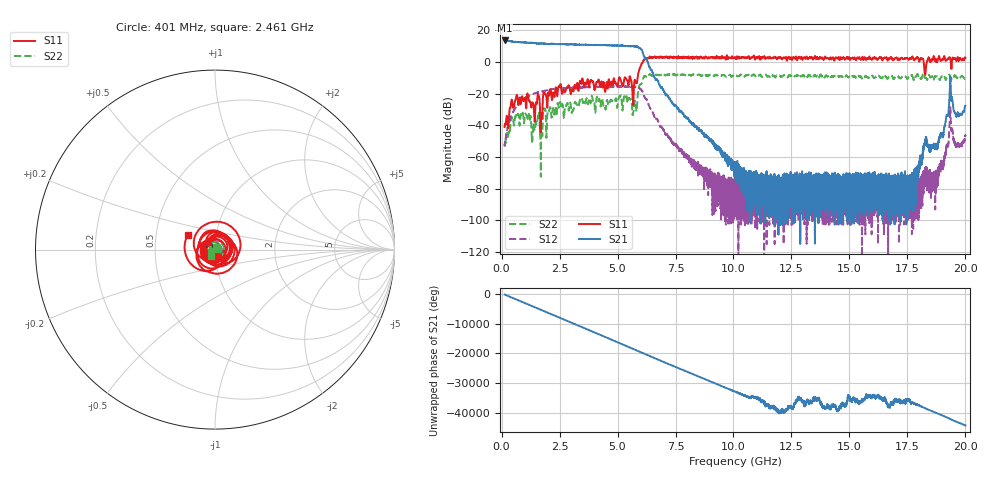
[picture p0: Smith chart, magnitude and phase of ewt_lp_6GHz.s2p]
!Created with skrf (http://scikit-rf.org).
# GHz S RI R 50.0
!freq ReS11 ImS11 ReS21 ImS21 ReS12 ImS12 ReS22 ImS22
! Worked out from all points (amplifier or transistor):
!   20013 points, 130 MHz to 20 GHz, reference 50 ohm
!   highest |S21| = 13.6 dB at 132 MHz (marker M1)
!   |S21| within 3 dB of that: start of sweep to 4.299 GHz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
!   unconditionally stable (mu >= 1): start of sweep to 5.964 GHz; 18.2 GHz to 18.34 GHz; 19.37702 GHz to 19.41306 GHz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
!   at 3.465 GHz: K = 1.13, MAG = 11.3 dB, |S12| = -16.1 dB
!   at 10.14 GHz: K = -25831640.06, MSG = 10.6 dB, |S12| = -88.3 dB
!   at 20 GHz: K = -1933.17, MSG = 9.1 dB, |S12| = -46.0 dB
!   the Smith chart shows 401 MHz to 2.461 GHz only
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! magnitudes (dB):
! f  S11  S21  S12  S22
! 130 MHz  -41.1  13.6  -53.4  -52.2
! 132 MHz  -40.8  13.6  -53.0  -52.3
! 464 MHz  -25.4  13.0  -32.5  -36.7
! 962 MHz  -24.3  12.4  -23.2  -38.6
! 1.38 GHz  -28.0  12.1  -20.0  -38.8
! 3.442 GHz  -13.4  11.0  -16.0  -22.4
! 5.73 GHz  -11.8  9.9  -15.7  -25.5
! 5.881 GHz  -8.3  9.5  -16.0  -19.8
! 6.166 GHz  2.2  3.2  -22.1  -8.9
! 6.754 GHz  3.2  -12.1  -37.4  -8.1
! 9.244 GHz  2.3  -54.7  -83.0  -8.1
! 10.06 GHz  3.1  -65.7  -71.5  -8.0
! 11.12 GHz  2.9  -75.1  -83.8  -8.3
! 13.38 GHz  3.0  -77.1  -96.7  -8.9
! 16.69 GHz  2.3  -72.7  -84.8  -9.7
! 17.67 GHz  2.3  -79.7  -82.4  -8.4
! 18.27 GHz  -8.0  -50.3  -68.7  -10.1
! 18.75 GHz  1.3  -53.2  -70.5  -9.0
! 19.08 GHz  3.7  -42.2  -62.0  -8.5
! 19.38 GHz  -0.1  -21.1  -39.9  -10.0
! 19.58 GHz  1.8  -32.9  -52.0  -8.8
! 20 GHz  2.7  -27.8  -46.0  -11.3
